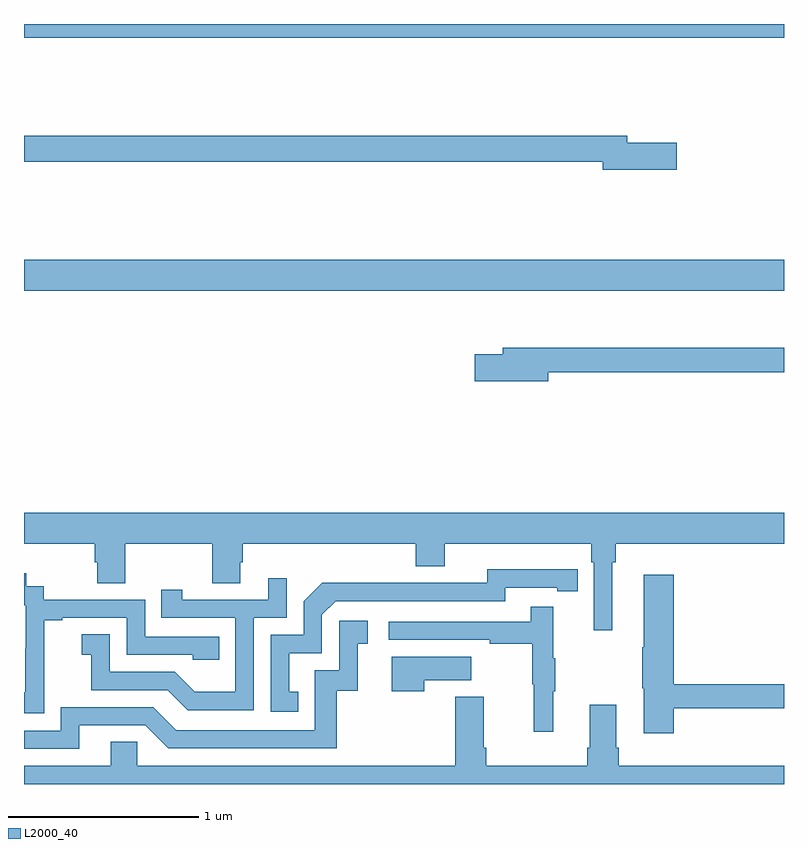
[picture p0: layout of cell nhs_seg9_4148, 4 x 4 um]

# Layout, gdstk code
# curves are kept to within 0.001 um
import gdstk
lib = gdstk.Library(unit=1e-6, precision=1e-09)
def R(c, l, rs):  # rectangles x0, y0, x1, y1
    for r in rs: c.add(gdstk.rectangle(r[:2], r[2:], *l))
def P(c, l, *ps):  # polygons
    for p in ps: c.add(gdstk.Polygon(p, *l))
L2000_40 = (2000, 40)

nhs_seg9_4148 = lib.new_cell('nhs_seg9_4148')
R(nhs_seg9_4148, L2000_40, [(349,1187.096,353,1187.26), (349,1188.428,353,1188.5)])
P(nhs_seg9_4148, L2000_40, [(352.435,1187.876),(352.174,1187.876),(352.174,1187.912),(349,1187.912),(349,1187.776),(352.046,1187.776),(352.046,1187.734),(352.435,1187.734)],
  [(351.76,1186.666),(353,1186.666),(353,1186.795),(351.521,1186.795),(351.521,1186.761),(351.372,1186.761),(351.372,1186.619),(351.76,1186.619)],
  [(352.096,1185.668),(352.115,1185.668),(352.115,1185.764),(353,1185.764),(353,1185.928),(349,1185.928),(349,1185.764),(349.373,1185.764),(349.373,1185.666),(349.385,1185.666),(349.385,1185.556),(349.533,1185.556),(349.533,1185.764),(349.99,1185.764),(349.99,1185.556),(350.137,1185.556),(350.137,1185.666),(350.15,1185.666),(350.15,1185.764),(351.062,1185.764),(351.062,1185.647),(351.214,1185.647),(351.214,1185.764),(351.986,1185.764),(351.986,1185.668),(351.999,1185.668),(351.999,1185.309),(352.096,1185.309)],
  [(350.444,1184.985),(350.395,1184.985),(350.395,1185.189),(350.568,1185.189),(350.568,1185.39),(350.64,1185.462),(351.534,1185.462),(351.534,1185.534),(351.806,1185.534),(351.806,1185.514),(351.914,1185.514),(351.914,1185.63),(351.438,1185.631),(351.438,1185.558),(350.978,1185.558),(350.978,1185.56),(350.57,1185.56),(350.472,1185.462),(350.472,1185.285),(350.298,1185.285),(350.298,1184.88),(350.444,1184.88)],
  [(349.107,1185.079),(349.106,1185.079),(349.106,1185.363),(349.201,1185.363),(349.201,1185.375),(349.542,1185.375),(349.542,1185.18),(349.887,1185.18),(349.887,1185.153),(350.027,1185.153),(350.027,1185.276),(349.638,1185.276),(349.638,1185.471),(349.104,1185.471),(349.104,1185.54),(349.012,1185.54),(349.012,1185.61),(349,1185.61),(349,1185.441),(349.008,1185.441),(349.008,1185.212),(349.007,1185.212),(349.007,1184.983),(349,1184.983),(349,1184.873),(349.107,1184.873)],
  [(352.421,1184.898),(353,1184.898),(353,1185.026),(352.421,1185.026),(352.421,1185.601),(352.262,1185.601),(352.262,1185.221),(352.255,1185.221),(352.255,1185.003),(352.262,1185.003),(352.262,1184.766),(352.421,1184.766)],
  [(350.208,1185.375),(350.382,1185.375),(350.382,1185.583),(350.285,1185.583),(350.285,1185.471),(349.834,1185.471),(349.834,1185.523),(349.723,1185.523),(349.723,1185.375),(350.112,1185.375),(350.112,1184.986),(349.898,1184.986),(349.794,1185.09),(349.452,1185.09),(349.452,1185.289),(349.305,1185.289),(349.305,1185.179),(349.354,1185.179),(349.354,1184.994),(349.757,1184.994),(349.862,1184.889),(350.208,1184.889)],
  [(351.785,1184.987),(351.796,1184.987),(351.796,1185.161),(351.785,1185.161),(351.785,1185.433),(351.667,1185.433),(351.667,1185.354),(350.919,1185.354),(350.919,1185.258),(351.451,1185.258),(351.451,1185.238),(351.675,1185.238),(351.675,1185.024),(351.682,1185.024),(351.682,1184.775),(351.785,1184.775)],
  [(349.291,1184.808),(349.638,1184.808),(349.758,1184.688),(350.645,1184.688),(350.645,1184.991),(350.756,1184.991),(350.756,1185.237),(350.809,1185.237),(350.809,1185.358),(350.658,1185.358),(350.658,1185.099),(350.529,1185.099),(350.529,1184.784),(349.8,1184.784),(349.68,1184.904),(349.194,1184.904),(349.194,1184.781),(349,1184.781),(349,1184.685),(349.291,1184.685)],
  [(351.107,1185.047),(351.355,1185.047),(351.355,1185.169),(350.936,1185.169),(350.936,1184.988),(351.107,1184.988)],
  [(353,1184.596),(352.13,1184.596),(352.13,1184.692),(352.117,1184.692),(352.117,1184.917),(351.977,1184.917),(351.977,1184.692),(351.965,1184.692),(351.965,1184.596),(351.434,1184.596),(351.434,1184.692),(351.421,1184.692),(351.421,1184.959),(351.269,1184.959),(351.269,1184.596),(349.596,1184.596),(349.596,1184.723),(349.457,1184.723),(349.457,1184.596),(349,1184.596),(349,1184.5),(353,1184.5)])

lib.write_gds('nhs_seg9_4148.gds')
